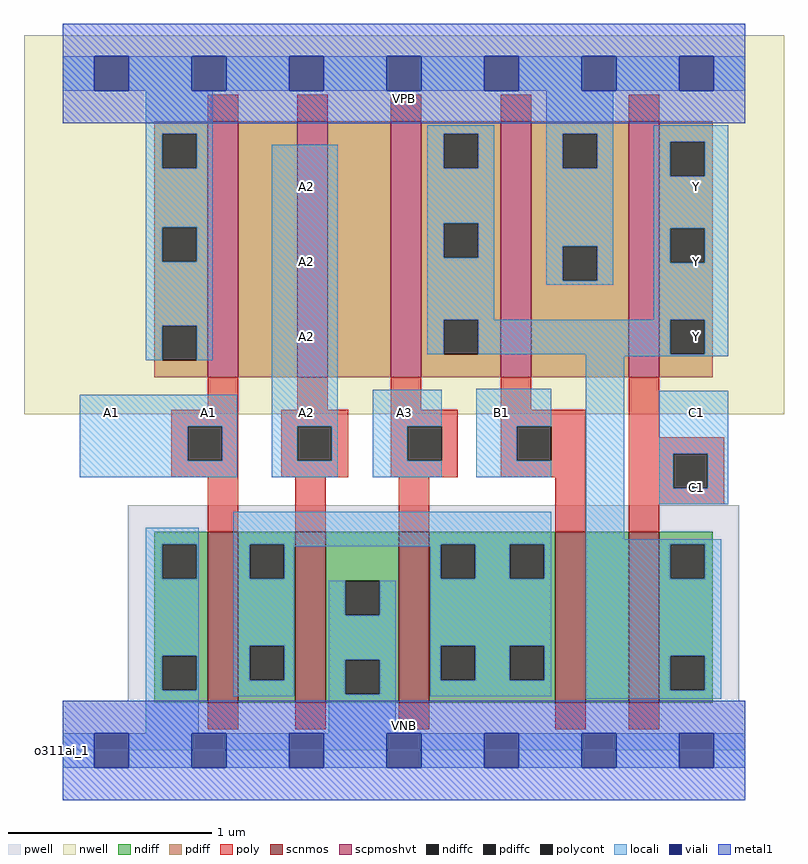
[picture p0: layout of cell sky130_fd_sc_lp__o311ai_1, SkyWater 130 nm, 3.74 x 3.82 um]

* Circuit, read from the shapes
.subckt sky130_fd_sc_lp__o311ai_1 A1 A2 A3 B1 C1 VGND VNB VPB VPWR Y
XM1 n1 A1 VGND VNB sky130_fd_pr__nfet_01v8 w=0.84 l=0.15
XM2 VGND A2 n1 VNB sky130_fd_pr__nfet_01v8 w=0.84 l=0.15
XM3 n1 A3 VGND VNB sky130_fd_pr__nfet_01v8 w=0.84 l=0.15
XM4 n2 B1 n1 VNB sky130_fd_pr__nfet_01v8 w=0.84 l=0.15
XM5 Y C1 n2 VNB sky130_fd_pr__nfet_01v8 w=0.84 l=0.15
XM6 n3 A1 VPWR VPB sky130_fd_pr__pfet_01v8_hvt w=1.26 l=0.15
XM7 n4 A2 n3 VPB sky130_fd_pr__pfet_01v8_hvt w=1.26 l=0.15
XM8 Y A3 n4 VPB sky130_fd_pr__pfet_01v8_hvt w=1.26 l=0.15
XM9 VPWR B1 Y VPB sky130_fd_pr__pfet_01v8_hvt w=1.26 l=0.15
XM10 Y C1 VPWR VPB sky130_fd_pr__pfet_01v8_hvt w=1.26 l=0.15
.ends

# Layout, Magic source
magic
tech sky130A
magscale 1 2
<< nwell >>
rect -38 331 710 704
<< pwell >>
rect 64 49 666 241
rect 0 0 672 49
<< scnmos >>
rect 143 47 173 215
rect 229 47 259 215
rect 331 47 361 215
rect 485 47 515 215
rect 557 47 587 215
<< scpmoshvt >>
rect 143 367 173 619
rect 231 367 261 619
rect 323 367 353 619
rect 431 367 461 619
rect 557 367 587 619
<< ndiff >>
rect 90 203 143 215
rect 90 169 98 203
rect 132 169 143 203
rect 90 93 143 169
rect 90 59 98 93
rect 132 59 143 93
rect 90 47 143 59
rect 173 203 229 215
rect 173 169 184 203
rect 218 169 229 203
rect 173 103 229 169
rect 173 69 184 103
rect 218 69 229 103
rect 173 47 229 69
rect 259 167 331 215
rect 259 133 278 167
rect 312 133 331 167
rect 259 89 331 133
rect 259 55 278 89
rect 312 55 331 89
rect 259 47 331 55
rect 361 203 485 215
rect 361 169 372 203
rect 406 169 440 203
rect 474 169 485 203
rect 361 103 485 169
rect 361 69 372 103
rect 406 69 440 103
rect 474 69 485 103
rect 361 47 485 69
rect 515 47 557 215
rect 587 203 640 215
rect 587 169 598 203
rect 632 169 640 203
rect 587 93 640 169
rect 587 59 598 93
rect 632 59 640 93
rect 587 47 640 59
<< pdiff >>
rect 90 607 143 619
rect 90 573 98 607
rect 132 573 143 607
rect 90 515 143 573
rect 90 481 98 515
rect 132 481 143 515
rect 90 418 143 481
rect 90 384 98 418
rect 132 384 143 418
rect 90 367 143 384
rect 173 367 231 619
rect 261 367 323 619
rect 353 607 431 619
rect 353 573 375 607
rect 409 573 431 607
rect 353 519 431 573
rect 353 485 375 519
rect 409 485 431 519
rect 353 424 431 485
rect 353 390 375 424
rect 409 390 431 424
rect 353 367 431 390
rect 461 607 557 619
rect 461 573 492 607
rect 526 573 557 607
rect 461 496 557 573
rect 461 462 492 496
rect 526 462 557 496
rect 461 367 557 462
rect 587 599 640 619
rect 587 565 598 599
rect 632 565 640 599
rect 587 514 640 565
rect 587 480 598 514
rect 632 480 640 514
rect 587 424 640 480
rect 587 390 598 424
rect 632 390 640 424
rect 587 367 640 390
<< ndiffc >>
rect 98 169 132 203
rect 98 59 132 93
rect 184 169 218 203
rect 184 69 218 103
rect 278 133 312 167
rect 278 55 312 89
rect 372 169 406 203
rect 440 169 474 203
rect 372 69 406 103
rect 440 69 474 103
rect 598 169 632 203
rect 598 59 632 93
<< pdiffc >>
rect 98 573 132 607
rect 98 481 132 515
rect 98 384 132 418
rect 375 573 409 607
rect 375 485 409 519
rect 375 390 409 424
rect 492 573 526 607
rect 492 462 526 496
rect 598 565 632 599
rect 598 480 632 514
rect 598 390 632 424
<< poly >>
rect 143 619 173 645
rect 231 619 261 645
rect 323 619 353 645
rect 431 619 461 645
rect 557 619 587 645
rect 143 335 173 367
rect 231 335 261 367
rect 323 335 353 367
rect 431 335 461 367
rect 107 319 173 335
rect 107 285 123 319
rect 157 285 173 319
rect 107 269 173 285
rect 215 319 281 335
rect 215 285 231 319
rect 265 285 281 319
rect 215 269 281 285
rect 323 319 389 335
rect 323 285 339 319
rect 373 285 389 319
rect 323 269 389 285
rect 431 319 515 335
rect 431 285 447 319
rect 481 285 515 319
rect 431 269 515 285
rect 143 215 173 269
rect 229 215 259 269
rect 331 215 361 269
rect 485 215 515 269
rect 557 308 587 367
rect 557 292 651 308
rect 557 258 601 292
rect 635 258 651 292
rect 557 242 651 258
rect 557 215 587 242
rect 143 21 173 47
rect 229 21 259 47
rect 331 21 361 47
rect 485 21 515 47
rect 557 21 587 47
<< polycont >>
rect 123 285 157 319
rect 231 285 265 319
rect 339 285 373 319
rect 447 285 481 319
rect 601 258 635 292
<< locali >>
rect 0 649 31 683
rect 65 649 127 683
rect 161 649 223 683
rect 257 649 319 683
rect 353 649 415 683
rect 449 649 511 683
rect 545 649 607 683
rect 641 649 672 683
rect 82 607 148 649
rect 82 573 98 607
rect 132 573 148 607
rect 359 607 425 615
rect 82 515 148 573
rect 82 481 98 515
rect 132 481 148 515
rect 82 418 148 481
rect 82 384 98 418
rect 132 384 148 418
rect 17 319 172 350
rect 17 285 123 319
rect 157 285 172 319
rect 17 269 172 285
rect 206 319 271 596
rect 359 573 375 607
rect 409 573 425 607
rect 359 519 425 573
rect 359 485 375 519
rect 409 485 425 519
rect 359 424 425 485
rect 476 607 542 649
rect 476 573 492 607
rect 526 573 542 607
rect 476 496 542 573
rect 476 462 492 496
rect 526 462 542 496
rect 476 458 542 462
rect 582 599 655 615
rect 582 565 598 599
rect 632 565 655 599
rect 582 514 655 565
rect 582 480 598 514
rect 632 480 655 514
rect 582 424 655 480
rect 359 390 375 424
rect 409 390 598 424
rect 632 390 655 424
rect 515 388 655 390
rect 206 285 231 319
rect 265 285 271 319
rect 206 269 271 285
rect 305 319 373 355
rect 305 285 339 319
rect 305 269 373 285
rect 407 319 481 356
rect 407 285 447 319
rect 407 269 481 285
rect 82 203 134 219
rect 82 169 98 203
rect 132 169 134 203
rect 82 93 134 169
rect 82 59 98 93
rect 132 59 134 93
rect 82 17 134 59
rect 168 203 481 235
rect 168 169 184 203
rect 218 201 372 203
rect 218 169 228 201
rect 168 103 228 169
rect 362 169 372 201
rect 406 169 440 203
rect 474 169 481 203
rect 168 69 184 103
rect 218 69 228 103
rect 168 53 228 69
rect 262 133 278 167
rect 312 133 328 167
rect 262 89 328 133
rect 262 55 278 89
rect 312 55 328 89
rect 262 17 328 55
rect 362 103 481 169
rect 362 69 372 103
rect 406 69 440 103
rect 474 69 481 103
rect 362 53 481 69
rect 515 208 553 388
rect 587 292 655 354
rect 587 258 601 292
rect 635 258 655 292
rect 587 242 655 258
rect 515 203 648 208
rect 515 169 598 203
rect 632 169 648 203
rect 515 93 648 169
rect 515 59 598 93
rect 632 59 648 93
rect 515 51 648 59
rect 0 -17 31 17
rect 65 -17 127 17
rect 161 -17 223 17
rect 257 -17 319 17
rect 353 -17 415 17
rect 449 -17 511 17
rect 545 -17 607 17
rect 641 -17 672 17
<< viali >>
rect 31 649 65 683
rect 127 649 161 683
rect 223 649 257 683
rect 319 649 353 683
rect 415 649 449 683
rect 511 649 545 683
rect 607 649 641 683
rect 31 -17 65 17
rect 127 -17 161 17
rect 223 -17 257 17
rect 319 -17 353 17
rect 415 -17 449 17
rect 511 -17 545 17
rect 607 -17 641 17
<< metal1 >>
rect 0 683 672 715
rect 0 649 31 683
rect 65 649 127 683
rect 161 649 223 683
rect 257 649 319 683
rect 353 649 415 683
rect 449 649 511 683
rect 545 649 607 683
rect 641 649 672 683
rect 0 617 672 649
rect 0 17 672 49
rect 0 -17 31 17
rect 65 -17 127 17
rect 161 -17 223 17
rect 257 -17 319 17
rect 353 -17 415 17
rect 449 -17 511 17
rect 545 -17 607 17
rect 641 -17 672 17
rect 0 -49 672 -17
<< labels >>
flabel pwell s 0 0 672 49 0 FreeSans 200 0 0 0 VNB
port 7 nsew ground bidirectional
flabel nwell s 0 617 672 666 0 FreeSans 200 0 0 0 VPB
port 8 nsew power bidirectional
rlabel comment s 0 0 0 0 4 o311ai_1
flabel metal1 s 0 617 672 666 0 FreeSans 340 0 0 0 VPWR
port 9 nsew power bidirectional
flabel metal1 s 0 0 672 49 0 FreeSans 340 0 0 0 VGND
port 6 nsew ground bidirectional
flabel locali s 127 316 161 350 0 FreeSans 340 0 0 0 A1
port 1 nsew signal input
flabel locali s 223 316 257 350 0 FreeSans 340 0 0 0 A2
port 2 nsew signal input
flabel locali s 319 316 353 350 0 FreeSans 340 0 0 0 A3
port 3 nsew signal input
flabel locali s 607 464 641 498 0 FreeSans 340 0 0 0 Y
port 10 nsew signal output
flabel locali s 607 538 641 572 0 FreeSans 340 0 0 0 Y
port 10 nsew signal output
flabel locali s 607 390 641 424 0 FreeSans 340 0 0 0 Y
port 10 nsew signal output
flabel locali s 415 316 449 350 0 FreeSans 340 0 0 0 B1
port 4 nsew signal input
flabel locali s 607 242 641 276 0 FreeSans 340 0 0 0 C1
port 5 nsew signal input
flabel locali s 607 316 641 350 0 FreeSans 340 0 0 0 C1
port 5 nsew signal input
flabel locali s 31 316 65 350 0 FreeSans 340 0 0 0 A1
port 1 nsew signal input
flabel locali s 223 538 257 572 0 FreeSans 340 0 0 0 A2
port 2 nsew signal input
flabel locali s 223 464 257 498 0 FreeSans 340 0 0 0 A2
port 2 nsew signal input
flabel locali s 223 390 257 424 0 FreeSans 340 0 0 0 A2
port 2 nsew signal input
<< properties >>
string LEFsite unit
string LEFclass CORE
string FIXED_BBOX 0 0 672 666
string GDS_FILE $PDKPATH/libs.ref/sky130_fd_sc_lp/gds/sky130_fd_sc_lp.gds
string LEFsymmetry X Y R90
string GDS_END 1592978
string GDS_START 1585950
<< end >>
